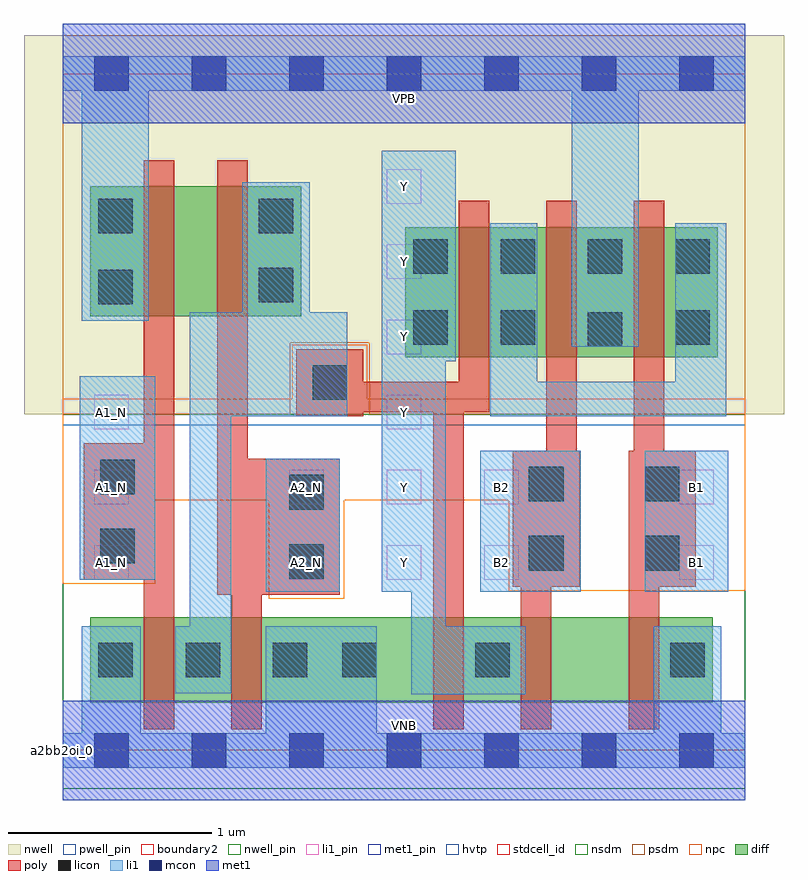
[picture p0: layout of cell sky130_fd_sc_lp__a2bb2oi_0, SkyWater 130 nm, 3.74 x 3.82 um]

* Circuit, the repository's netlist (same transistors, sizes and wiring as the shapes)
* Copyright 2020 The SkyWater PDK Authors
*
* Licensed under the Apache License, Version 2.0 (the "License");
* you may not use this file except in compliance with the License.
* You may obtain a copy of the License at
*
*     https://www.apache.org/licenses/LICENSE-2.0
*
* Unless required by applicable law or agreed to in writing, software
* distributed under the License is distributed on an "AS IS" BASIS,
* WITHOUT WARRANTIES OR CONDITIONS OF ANY KIND, either express or implied.
* See the License for the specific language governing permissions and
* limitations under the License.
*
* SPDX-License-Identifier: Apache-2.0

.SUBCKT sky130_fd_sc_lp__a2bb2oi_0 A1_N A2_N B1 B2 VGND VNB VPB VPWR Y
*.PININFO A1_N:I A2_N:I B1:I B2:I VGND:I VNB:I VPB:I VPWR:I Y:O
MMNnor0 inor A1_N VGND VNB sky130_fd_pr__nfet_01v8 m=1 w=0.42U l=0.15U mult=1 sa=0.265
+ sb=0.265 sd=0.28 area=0.063 perim=1.14
MMNnor1 inor A2_N VGND VNB sky130_fd_pr__nfet_01v8 m=1 w=0.42U l=0.15U mult=1 sa=0.265
+ sb=0.265 sd=0.28 area=0.063 perim=1.14
MMNaoi10 VGND B1 sndNB1 VNB sky130_fd_pr__nfet_01v8 m=1 w=0.42U l=0.15U mult=1
+ sa=0.265 sb=0.265 sd=0.28 area=0.063 perim=1.14
MMNaoi11 sndNB1 B2 Y VNB sky130_fd_pr__nfet_01v8 m=1 w=0.42U l=0.15U mult=1 sa=0.265
+ sb=0.265 sd=0.28 area=0.063 perim=1.14
MMNaoi20 Y inor VGND VNB sky130_fd_pr__nfet_01v8 m=1 w=0.42U l=0.15U mult=1 sa=0.265
+ sb=0.265 sd=0.28 area=0.063 perim=1.14
MMPnor0 VPWR A1_N sndPA1N VPB sky130_fd_pr__pfet_01v8_hvt m=1 w=0.64U l=0.15U mult=1
+ sa=0.265 sb=0.265 sd=0.28 area=0.063 perim=1.14
MMPnor1 sndPA1N A2_N inor VPB sky130_fd_pr__pfet_01v8_hvt m=1 w=0.64U l=0.15U mult=1
+ sa=0.265 sb=0.265 sd=0.28 area=0.063 perim=1.14
MMPaoi10 pmid B1 VPWR VPB sky130_fd_pr__pfet_01v8_hvt m=1 w=0.64U l=0.15U mult=1
+ sa=0.265 sb=0.265 sd=0.28 area=0.063 perim=1.14
MMPaoi11 pmid B2 VPWR VPB sky130_fd_pr__pfet_01v8_hvt m=1 w=0.64U l=0.15U mult=1
+ sa=0.265 sb=0.265 sd=0.28 area=0.063 perim=1.14
MMPaoi20 Y inor pmid VPB sky130_fd_pr__pfet_01v8_hvt m=1 w=0.64U l=0.15U mult=1
+ sa=0.265 sb=0.265 sd=0.28 area=0.063 perim=1.14
.ENDS sky130_fd_sc_lp__a2bb2oi_0

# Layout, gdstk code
import gdstk
lib = gdstk.Library(unit=1e-6, precision=1e-09)
def R(c, l, rs):  # rectangles x0, y0, x1, y1
    for r in rs: c.add(gdstk.rectangle(r[:2], r[2:], *l))
def A(c, l, x, y, w, h, nx, ny, dx, dy):  # array of equal rectangles
    R(c, l, [(x+i*dx, y+j*dy, x+i*dx+w, y+j*dy+h) for i in range(nx) for j in range(ny)])
def P(c, l, *ps):  # polygons
    for p in ps: c.add(gdstk.Polygon(p, *l))
nwell_pin = (64, 16)
nwell = (64, 20)
diff = (65, 20)
poly = (66, 20)
licon = (66, 44)
li1_pin = (67, 16)
li1 = (67, 20)
mcon = (67, 44)
met1_pin = (68, 16)
met1 = (68, 20)
hvtp = (78, 44)
stdcell_id = (81, 4)
nsdm = (93, 44)
psdm = (94, 20)
npc = (95, 20)
pwell_pin = (122, 16)
boundary2 = (236, 0)

sky130_fd_sc_lp__a2bb2oi = lib.new_cell('sky130_fd_sc_lp__a2bb2oi_0')
R(sky130_fd_sc_lp__a2bb2oi, nwell_pin, [(0,3.085,3.36,3.33)])
R(sky130_fd_sc_lp__a2bb2oi, nwell, [(-0.19,1.655,3.55,3.52)])
R(sky130_fd_sc_lp__a2bb2oi, diff, [(0.135,0.235,3.2,0.655), (1.685,1.935,3.225,2.575), (0.135,2.135,1.175,2.775)])
P(sky130_fd_sc_lp__a2bb2oi, poly, [(0.55,2.905),(0.4,2.905),(0.4,1.51),(0.105,1.51),(0.105,0.84),(0.4,0.84),(0.4,0.105),(0.55,0.105)],
  [(1.365,1.435),(0.91,1.435),(0.91,2.905),(0.76,2.905),(0.76,0.765),(0.83,0.765),(0.83,0.105),(0.98,0.105),(0.98,0.765),(1.365,0.765)],
  [(2.1,2.705),(1.95,2.705),(1.95,1.815),(1.48,1.815),(1.48,1.975),(1.15,1.975),(1.15,1.645),(1.48,1.645),(1.48,1.665),(1.825,1.665),(1.825,0.105),(1.975,0.105),(1.975,1.665),(2.1,1.665)],
  [(2.545,1.475),(2.53,1.475),(2.53,2.705),(2.38,2.705),(2.38,1.475),(2.215,1.475),(2.215,0.805),(2.255,0.805),(2.255,0.105),(2.405,0.105),(2.405,0.805),(2.545,0.805)],
  [(3.115,1.475),(2.96,1.475),(2.96,2.705),(2.81,2.705),(2.81,1.475),(2.785,1.475),(2.785,0.105),(2.935,0.105),(2.935,0.805),(3.115,0.805)])
A(sky130_fd_sc_lp__a2bb2oi, licon, 0.175, 0.36, 0.17, 0.17, 3, 1, 0.43, 0)
A(sky130_fd_sc_lp__a2bb2oi, licon, 1.725, 2.345, 0.17, 0.17, 4, 1, 0.43, 0)
R(sky130_fd_sc_lp__a2bb2oi, licon, [(1.375,0.36,1.545,0.53), (2.03,0.36,2.2,0.53), (2.99,0.36,3.16,0.53), (1.115,0.845,1.285,1.015), (2.295,0.885,2.465,1.055), (2.865,0.885,3.035,1.055), (0.185,0.92,0.355,1.09), (1.115,1.185,1.285,1.355), (2.295,1.225,2.465,1.395), (2.865,1.225,3.035,1.395), (0.185,1.26,0.355,1.43), (1.23,1.725,1.4,1.895), (2.585,1.985,2.755,2.155), (1.725,1.995,1.895,2.165), (2.155,1.995,2.325,2.165), (3.015,1.995,3.185,2.165), (0.175,2.195,0.345,2.365), (0.965,2.205,1.135,2.375), (0.175,2.545,0.345,2.715), (0.965,2.545,1.135,2.715)])
A(sky130_fd_sc_lp__a2bb2oi, li1_pin, 0.155, 0.84, 0.17, 0.17, 1, 3, 0, 0.37)
A(sky130_fd_sc_lp__a2bb2oi, li1_pin, 1.115, 0.84, 0.17, 0.17, 3, 2, 0.48, 0.37)
A(sky130_fd_sc_lp__a2bb2oi, li1_pin, 1.595, 1.58, 0.17, 0.17, 1, 4, 0, 0.37)
R(sky130_fd_sc_lp__a2bb2oi, li1_pin, [(3.035,0.84,3.205,1.01), (3.035,1.21,3.205,1.38)])
R(sky130_fd_sc_lp__a2bb2oi, li1, [(1,0.78,1.365,1.435), (2.055,0.78,2.55,1.475), (2.865,0.78,3.275,1.475), (0.085,0.84,0.455,1.84)])
P(sky130_fd_sc_lp__a2bb2oi, li1, [(3.36,0.085),(3.24,0.085),(3.24,0.61),(2.91,0.61),(2.91,0.085),(1.545,0.085),(1.545,0.61),(1,0.61),(1,0.085),(0.385,0.085),(0.385,0.61),(0.095,0.61),(0.095,0.085),(0,0.085),(0,-0.085),(3.36,-0.085)],
  [(3.265,2.595),(3.015,2.595),(3.015,1.815),(2.335,1.815),(2.335,2.595),(2.105,2.595),(2.105,1.645),(3.265,1.645)],
  [(1.4,2.155),(1.215,2.155),(1.215,2.795),(0.885,2.795),(0.885,2.155),(0.625,2.155),(0.625,0.61),(0.555,0.61),(0.555,0.28),(0.83,0.28),(0.83,1.645),(1.4,1.645)],
  [(3.36,3.415),(0,3.415),(0,3.245),(0.095,3.245),(0.095,2.115),(0.425,2.115),(0.425,3.245),(2.505,3.245),(2.505,1.985),(2.835,1.985),(2.835,3.245),(3.36,3.245)],
  [(2.28,0.61),(1.885,0.61),(1.885,1.915),(1.935,1.915),(1.935,2.95),(1.57,2.95),(1.57,0.78),(1.715,0.78),(1.715,0.275),(2.28,0.275)])
A(sky130_fd_sc_lp__a2bb2oi, mcon, 0.155, -0.085, 0.17, 0.17, 7, 2, 0.48, 3.33)
R(sky130_fd_sc_lp__a2bb2oi, met1_pin, [(0,0,3.36,0.245), (0,3.085,3.36,3.33)])
R(sky130_fd_sc_lp__a2bb2oi, met1, [(0,-0.245,3.36,0.245), (0,3.085,3.36,3.575)])
R(sky130_fd_sc_lp__a2bb2oi, hvtp, [(0,1.6,3.36,3.33)])
R(sky130_fd_sc_lp__a2bb2oi, stdcell_id, [(0,0,3.36,3.33)])
R(sky130_fd_sc_lp__a2bb2oi, nsdm, [(0,-0.19,3.36,1.655)])
P(sky130_fd_sc_lp__a2bb2oi, psdm, [(3.36,3.52),(0,3.52),(0,1.655),(1.12,1.655),(1.12,2.005),(1.51,2.005),(1.51,1.655),(3.36,1.655)])
P(sky130_fd_sc_lp__a2bb2oi, npc, [(3.36,1.73),(1.5,1.73),(1.5,1.995),(1.13,1.995),(1.13,1.73),(0,1.73),(0,0.82),(0.455,0.82),(0.455,1.23),(1.015,1.23),(1.015,0.745),(1.385,0.745),(1.385,1.23),(2.195,1.23),(2.195,0.785),(3.36,0.785)])
R(sky130_fd_sc_lp__a2bb2oi, pwell_pin, [(0,0,3.36,0.245)])
R(sky130_fd_sc_lp__a2bb2oi, boundary2, [(0,0,3.36,3.33)])
sky130_fd_sc_lp__a2bb2oi.add(gdstk.Label('VNB', (1.68,0.123), layer=64, texttype=59))
sky130_fd_sc_lp__a2bb2oi.add(gdstk.Label('VPB', (1.68,3.208), layer=64, texttype=5))
sky130_fd_sc_lp__a2bb2oi.add(gdstk.Label('a2bb2oi_0', (0,0), layer=83, texttype=44))
sky130_fd_sc_lp__a2bb2oi.add(gdstk.Label('VPWR', (1.68,3.208), layer=68, texttype=5))
sky130_fd_sc_lp__a2bb2oi.add(gdstk.Label('VGND', (1.68,0.123), layer=68, texttype=5))
sky130_fd_sc_lp__a2bb2oi.add(gdstk.Label('A1_N', (0.24,0.925), layer=67, texttype=5))
sky130_fd_sc_lp__a2bb2oi.add(gdstk.Label('A1_N', (0.24,1.295), layer=67, texttype=5))
sky130_fd_sc_lp__a2bb2oi.add(gdstk.Label('A1_N', (0.24,1.665), layer=67, texttype=5))
sky130_fd_sc_lp__a2bb2oi.add(gdstk.Label('A2_N', (1.2,0.925), layer=67, texttype=5))
sky130_fd_sc_lp__a2bb2oi.add(gdstk.Label('A2_N', (1.2,1.295), layer=67, texttype=5))
sky130_fd_sc_lp__a2bb2oi.add(gdstk.Label('B1', (3.12,0.925), layer=67, texttype=5))
sky130_fd_sc_lp__a2bb2oi.add(gdstk.Label('B1', (3.12,1.295), layer=67, texttype=5))
sky130_fd_sc_lp__a2bb2oi.add(gdstk.Label('B2', (2.16,0.925), layer=67, texttype=5))
sky130_fd_sc_lp__a2bb2oi.add(gdstk.Label('B2', (2.16,1.295), layer=67, texttype=5))
sky130_fd_sc_lp__a2bb2oi.add(gdstk.Label('Y', (1.68,0.925), layer=67, texttype=5))
sky130_fd_sc_lp__a2bb2oi.add(gdstk.Label('Y', (1.68,1.295), layer=67, texttype=5))
sky130_fd_sc_lp__a2bb2oi.add(gdstk.Label('Y', (1.68,1.665), layer=67, texttype=5))
sky130_fd_sc_lp__a2bb2oi.add(gdstk.Label('Y', (1.68,2.035), layer=67, texttype=5))
sky130_fd_sc_lp__a2bb2oi.add(gdstk.Label('Y', (1.68,2.405), layer=67, texttype=5))
sky130_fd_sc_lp__a2bb2oi.add(gdstk.Label('Y', (1.68,2.775), layer=67, texttype=5))

lib.write_gds('sky130_fd_sc_lp__a2bb2oi_0.gds')
